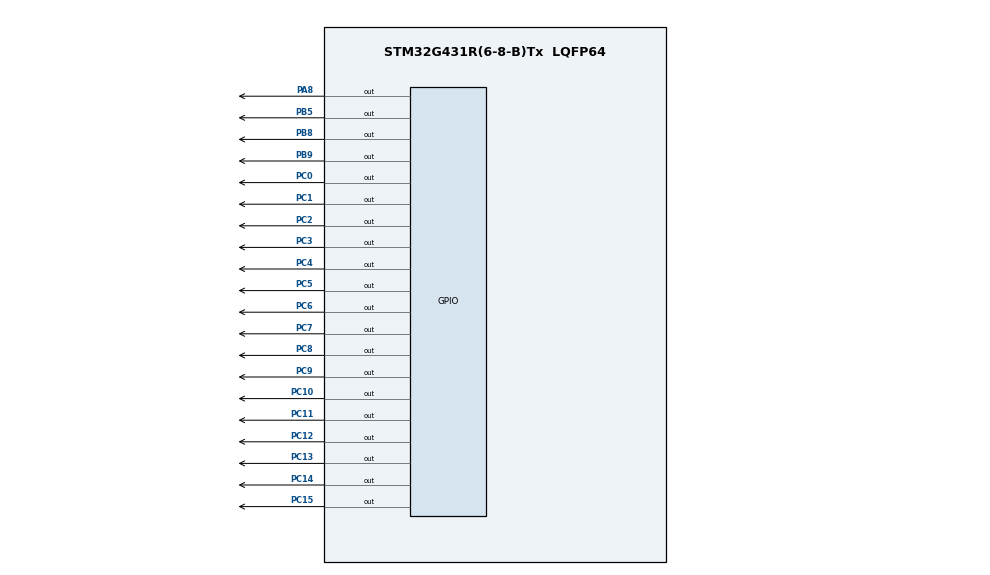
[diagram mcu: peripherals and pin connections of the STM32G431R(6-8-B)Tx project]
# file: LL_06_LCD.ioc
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Mcu.Family=STM32G4
Mcu.Name=STM32G431R(6-8-B)Tx
Mcu.Package=LQFP64
NVIC.PriorityGroup=NVIC_PRIORITYGROUP_4
PA8.Signal=GPIO_Output
PB5.Signal=GPIO_Output
PB8-BOOT0.Signal=GPIO_Output
PB9.Signal=GPIO_Output
PC0.Signal=GPIO_Output
PC1.Signal=GPIO_Output
PC10.Signal=GPIO_Output
PC11.Signal=GPIO_Output
PC12.Signal=GPIO_Output
PC13.Signal=GPIO_Output
PC14-OSC32_IN.Signal=GPIO_Output
PC15-OSC32_OUT.Signal=GPIO_Output
PC2.Signal=GPIO_Output
PC3.Signal=GPIO_Output
PC4.Signal=GPIO_Output
PC5.Signal=GPIO_Output
PC6.Signal=GPIO_Output
PC7.Signal=GPIO_Output
PC8.Signal=GPIO_Output
PC9.Signal=GPIO_Output
PF0-OSC_IN.Mode=HSE-External-Oscillator
PF0-OSC_IN.Signal=RCC_OSC_IN
PF1-OSC_OUT.Mode=HSE-External-Oscillator
PF1-OSC_OUT.Signal=RCC_OSC_OUT
ProjectManager.HeapSize=0x200
ProjectManager.StackSize=0x400
ProjectManager.TargetToolchain=MDK-ARM V5.27
RCC.ADC12Freq_Value=80000000
RCC.AHBFreq_Value=80000000
RCC.APB1Freq_Value=80000000
RCC.APB1TimFreq_Value=80000000
RCC.APB2Freq_Value=80000000
RCC.APB2TimFreq_Value=80000000
RCC.CortexFreq_Value=80000000
RCC.EXTERNAL_CLOCK_VALUE=12288000
RCC.HCLKFreq_Value=80000000
RCC.HSE_VALUE=24000000
RCC.HSI48_VALUE=48000000
RCC.HSI_VALUE=16000000
RCC.LSE_VALUE=32768
RCC.PLLM=RCC_PLLM_DIV2
RCC.PLLN=20
RCC.SYSCLKFreq_VALUE=80000000
RCC.SYSCLKSource=RCC_SYSCLKSOURCE_PLLCLK
RCC.USBFreq_Value=80000000
RCC.VCOOutputFreq_Value=160000000
VP_SYS_VS_DBSignals.Mode=DisableDeadBatterySignals
board=custom

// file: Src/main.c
/* USER CODE BEGIN Header */
/**
  ******************************************************************************
  * @file           : main.c
  * @brief          : Main program body
  ******************************************************************************
  * @attention
  *
  * <h2><center>&copy; Copyright (c) 2021 STMicroelectronics.
  * All rights reserved.</center></h2>
  *
  * This software component is licensed by ST under BSD 3-Clause license,
  * the "License"; You may not use this file except in compliance with the
  * License. You may obtain a copy of the License at:
  *                        opensource.org/licenses/BSD-3-Clause
  *
  ******************************************************************************
  */
/* USER CODE END Header */

#include "main.h"

void SystemClock_Config(void);
static void MX_GPIO_Init(void);

int main(void)
{

  /* MCU Configuration--------------------------------------------------------*/

  /* Reset of all peripherals, Initializes the Flash interface and the Systick. */

  LL_APB2_GRP1_EnableClock(LL_APB2_GRP1_PERIPH_SYSCFG);
  LL_APB1_GRP1_EnableClock(LL_APB1_GRP1_PERIPH_PWR);

  NVIC_SetPriorityGrouping(NVIC_PRIORITYGROUP_4);

  /* System interrupt init*/

  /** Disable the internal Pull-Up in Dead Battery pins of UCPD peripheral
  */
  LL_PWR_DisableDeadBatteryPD();

  /* Configure the system clock */
  SystemClock_Config();

  /* Initialize all configured peripherals */
  MX_GPIO_Init();
  /* USER CODE BEGIN 2 */
	LCD_Init();

  /* Infinite loop */
  /* USER CODE BEGIN WHILE */

	LCD_Clear(Blue);
	LCD_SetBackColor(Blue);
	LCD_SetTextColor(White);

	LCD_DisplayStringLine(Line0, (uint8_t *)"                    ");
	LCD_DisplayStringLine(Line1, (uint8_t *)"                    ");
	LCD_DisplayStringLine(Line2, (uint8_t *)"      LCD Test      ");
	LCD_DisplayStringLine(Line3, (uint8_t *)"                    ");
	LCD_DisplayStringLine(Line4, (uint8_t *)"                    ");

	LCD_SetBackColor(White);
	LCD_SetTextColor(Blue);

	LCD_DisplayStringLine(Line5, (uint8_t *)"                    ");
	LCD_DisplayStringLine(Line6, (uint8_t *)"        LL LIB      ");
	LCD_DisplayStringLine(Line7, (uint8_t *)"                    ");
	LCD_DisplayStringLine(Line8, (uint8_t *)"         @80        ");
	LCD_DisplayStringLine(Line9, (uint8_t *)"                    ");
  /* USER CODE END 2 */

  /* Infinite loop */
  while (1)
  {

  }
}

void SystemClock_Config(void)
{
  LL_FLASH_SetLatency(LL_FLASH_LATENCY_3);

   if(LL_FLASH_GetLatency() != LL_FLASH_LATENCY_3)
  {
    Error_Handler();
  }
  LL_PWR_SetRegulVoltageScaling(LL_PWR_REGU_VOLTAGE_SCALE1);
  LL_RCC_HSI_Enable();

   /* Wait till HSI is ready */
  while(LL_RCC_HSI_IsReady() != 1)
  {

  }
  LL_RCC_HSI_SetCalibTrimming(64);
  LL_RCC_PLL_ConfigDomain_SYS(LL_RCC_PLLSOURCE_HSI, LL_RCC_PLLM_DIV_2, 20, LL_RCC_PLLR_DIV_2);
  LL_RCC_PLL_EnableDomain_SYS();
  LL_RCC_PLL_Enable();

   /* Wait till PLL is ready */
  while(LL_RCC_PLL_IsReady() != 1)
  {

  }
  LL_RCC_SetSysClkSource(LL_RCC_SYS_CLKSOURCE_PLL);

   /* Wait till System clock is ready */
  while(LL_RCC_GetSysClkSource() != LL_RCC_SYS_CLKSOURCE_STATUS_PLL)
  {

  }
  /* Set AHB prescaler*/
  LL_RCC_SetAHBPrescaler(LL_RCC_SYSCLK_DIV_1);
  LL_RCC_SetAPB1Prescaler(LL_RCC_APB1_DIV_1);
  LL_RCC_SetAPB2Prescaler(LL_RCC_APB1_DIV_1);

  LL_Init1msTick(80000000);

  LL_SetSystemCoreClock(80000000);
}

static void MX_GPIO_Init(void)
{
  LL_GPIO_InitTypeDef GPIO_InitStruct = {0};

  /* GPIO Ports Clock Enable */
  LL_AHB2_GRP1_EnableClock(LL_AHB2_GRP1_PERIPH_GPIOC);
  LL_AHB2_GRP1_EnableClock(LL_AHB2_GRP1_PERIPH_GPIOF);
  LL_AHB2_GRP1_EnableClock(LL_AHB2_GRP1_PERIPH_GPIOA);
  LL_AHB2_GRP1_EnableClock(LL_AHB2_GRP1_PERIPH_GPIOB);

  /**/
  LL_GPIO_ResetOutputPin(GPIOC, LL_GPIO_PIN_13);

  /**/
  LL_GPIO_ResetOutputPin(GPIOC, LL_GPIO_PIN_14);

  /**/
  LL_GPIO_ResetOutputPin(GPIOC, LL_GPIO_PIN_15);

  /**/
  LL_GPIO_ResetOutputPin(GPIOC, LL_GPIO_PIN_0);

  /**/
  LL_GPIO_ResetOutputPin(GPIOC, LL_GPIO_PIN_1);

  /**/
  LL_GPIO_ResetOutputPin(GPIOC, LL_GPIO_PIN_2);

  /**/
  LL_GPIO_ResetOutputPin(GPIOC, LL_GPIO_PIN_3);

  /**/
  LL_GPIO_ResetOutputPin(GPIOC, LL_GPIO_PIN_4);

  /**/
  LL_GPIO_ResetOutputPin(GPIOC, LL_GPIO_PIN_5);

  /**/
  LL_GPIO_ResetOutputPin(GPIOC, LL_GPIO_PIN_6);

  /**/
  LL_GPIO_ResetOutputPin(GPIOC, LL_GPIO_PIN_7);

  /**/
  LL_GPIO_ResetOutputPin(GPIOC, LL_GPIO_PIN_8);

  /**/
  LL_GPIO_ResetOutputPin(GPIOC, LL_GPIO_PIN_9);

  /**/
  LL_GPIO_ResetOutputPin(GPIOA, LL_GPIO_PIN_8);

  /**/
  LL_GPIO_ResetOutputPin(GPIOC, LL_GPIO_PIN_10);

  /**/
  LL_GPIO_ResetOutputPin(GPIOC, LL_GPIO_PIN_11);

  /**/
  LL_GPIO_ResetOutputPin(GPIOC, LL_GPIO_PIN_12);

  /**/
  LL_GPIO_ResetOutputPin(GPIOB, LL_GPIO_PIN_5);

  /**/
  LL_GPIO_ResetOutputPin(GPIOB, LL_GPIO_PIN_8);

  /**/
  LL_GPIO_ResetOutputPin(GPIOB, LL_GPIO_PIN_9);

  /**/
  GPIO_InitStruct.Pin = LL_GPIO_PIN_13;
  GPIO_InitStruct.Mode = LL_GPIO_MODE_OUTPUT;
  GPIO_InitStruct.Speed = LL_GPIO_SPEED_FREQ_LOW;
  GPIO_InitStruct.OutputType = LL_GPIO_OUTPUT_PUSHPULL;
  GPIO_InitStruct.Pull = LL_GPIO_PULL_NO;
  LL_GPIO_Init(GPIOC, &GPIO_InitStruct);

  /**/
  GPIO_InitStruct.Pin = LL_GPIO_PIN_14;
  GPIO_InitStruct.Mode = LL_GPIO_MODE_OUTPUT;
  GPIO_InitStruct.Speed = LL_GPIO_SPEED_FREQ_LOW;
  GPIO_InitStruct.OutputType = LL_GPIO_OUTPUT_PUSHPULL;
  GPIO_InitStruct.Pull = LL_GPIO_PULL_NO;
  LL_GPIO_Init(GPIOC, &GPIO_InitStruct);

  /**/
  GPIO_InitStruct.Pin = LL_GPIO_PIN_15;
  GPIO_InitStruct.Mode = LL_GPIO_MODE_OUTPUT;
  GPIO_InitStruct.Speed = LL_GPIO_SPEED_FREQ_LOW;
  GPIO_InitStruct.OutputType = LL_GPIO_OUTPUT_PUSHPULL;
  GPIO_InitStruct.Pull = LL_GPIO_PULL_NO;
  LL_GPIO_Init(GPIOC, &GPIO_InitStruct);

  /**/
  GPIO_InitStruct.Pin = LL_GPIO_PIN_0;
  GPIO_InitStruct.Mode = LL_GPIO_MODE_OUTPUT;
  GPIO_InitStruct.Speed = LL_GPIO_SPEED_FREQ_LOW;
  GPIO_InitStruct.OutputType = LL_GPIO_OUTPUT_PUSHPULL;
  GPIO_InitStruct.Pull = LL_GPIO_PULL_NO;
  LL_GPIO_Init(GPIOC, &GPIO_InitStruct);

  /**/
  GPIO_InitStruct.Pin = LL_GPIO_PIN_1;
  GPIO_InitStruct.Mode = LL_GPIO_MODE_OUTPUT;
  GPIO_InitStruct.Speed = LL_GPIO_SPEED_FREQ_LOW;
  GPIO_InitStruct.OutputType = LL_GPIO_OUTPUT_PUSHPULL;
  GPIO_InitStruct.Pull = LL_GPIO_PULL_NO;
  LL_GPIO_Init(GPIOC, &GPIO_InitStruct);

  /**/
  GPIO_InitStruct.Pin = LL_GPIO_PIN_2;
  GPIO_InitStruct.Mode = LL_GPIO_MODE_OUTPUT;
  GPIO_InitStruct.Speed = LL_GPIO_SPEED_FREQ_LOW;
  GPIO_InitStruct.OutputType = LL_GPIO_OUTPUT_PUSHPULL;
  GPIO_InitStruct.Pull = LL_GPIO_PULL_NO;
  LL_GPIO_Init(GPIOC, &GPIO_InitStruct);

  /**/
  GPIO_InitStruct.Pin = LL_GPIO_PIN_3;
  GPIO_InitStruct.Mode = LL_GPIO_MODE_OUTPUT;
  GPIO_InitStruct.Speed = LL_GPIO_SPEED_FREQ_LOW;
  GPIO_InitStruct.OutputType = LL_GPIO_OUTPUT_PUSHPULL;
  GPIO_InitStruct.Pull = LL_GPIO_PULL_NO;
  LL_GPIO_Init(GPIOC, &GPIO_InitStruct);

  /**/
  GPIO_InitStruct.Pin = LL_GPIO_PIN_4;
  GPIO_InitStruct.Mode = LL_GPIO_MODE_OUTPUT;
  GPIO_InitStruct.Speed = LL_GPIO_SPEED_FREQ_LOW;
  GPIO_InitStruct.OutputType = LL_GPIO_OUTPUT_PUSHPULL;
  GPIO_InitStruct.Pull = LL_GPIO_PULL_NO;
  LL_GPIO_Init(GPIOC, &GPIO_InitStruct);

  /**/
  GPIO_InitStruct.Pin = LL_GPIO_PIN_5;
  GPIO_InitStruct.Mode = LL_GPIO_MODE_OUTPUT;
  GPIO_InitStruct.Speed = LL_GPIO_SPEED_FREQ_LOW;
  GPIO_InitStruct.OutputType = LL_GPIO_OUTPUT_PUSHPULL;
  GPIO_InitStruct.Pull = LL_GPIO_PULL_NO;
  LL_GPIO_Init(GPIOC, &GPIO_InitStruct);

  /**/
  GPIO_InitStruct.Pin = LL_GPIO_PIN_6;
  GPIO_InitStruct.Mode = LL_GPIO_MODE_OUTPUT;
  GPIO_InitStruct.Speed = LL_GPIO_SPEED_FREQ_LOW;
  GPIO_InitStruct.OutputType = LL_GPIO_OUTPUT_PUSHPULL;
  GPIO_InitStruct.Pull = LL_GPIO_PULL_NO;
  LL_GPIO_Init(GPIOC, &GPIO_InitStruct);

  /**/
  GPIO_InitStruct.Pin = LL_GPIO_PIN_7;
  GPIO_InitStruct.Mode = LL_GPIO_MODE_OUTPUT;
  GPIO_InitStruct.Speed = LL_GPIO_SPEED_FREQ_LOW;
  GPIO_InitStruct.OutputType = LL_GPIO_OUTPUT_PUSHPULL;
  GPIO_InitStruct.Pull = LL_GPIO_PULL_NO;
  LL_GPIO_Init(GPIOC, &GPIO_InitStruct);

  /**/
  GPIO_InitStruct.Pin = LL_GPIO_PIN_8;
  GPIO_InitStruct.Mode = LL_GPIO_MODE_OUTPUT;
  GPIO_InitStruct.Speed = LL_GPIO_SPEED_FREQ_LOW;
  GPIO_InitStruct.OutputType = LL_GPIO_OUTPUT_PUSHPULL;
  GPIO_InitStruct.Pull = LL_GPIO_PULL_NO;
  LL_GPIO_Init(GPIOC, &GPIO_InitStruct);

  /**/
  GPIO_InitStruct.Pin = LL_GPIO_PIN_9;
  GPIO_InitStruct.Mode = LL_GPIO_MODE_OUTPUT;
  GPIO_InitStruct.Speed = LL_GPIO_SPEED_FREQ_LOW;
  GPIO_InitStruct.OutputType = LL_GPIO_OUTPUT_PUSHPULL;
  GPIO_InitStruct.Pull = LL_GPIO_PULL_NO;
  LL_GPIO_Init(GPIOC, &GPIO_InitStruct);

  /**/
  GPIO_InitStruct.Pin = LL_GPIO_PIN_8;
  GPIO_InitStruct.Mode = LL_GPIO_MODE_OUTPUT;
  GPIO_InitStruct.Speed = LL_GPIO_SPEED_FREQ_LOW;
  GPIO_InitStruct.OutputType = LL_GPIO_OUTPUT_PUSHPULL;
  GPIO_InitStruct.Pull = LL_GPIO_PULL_NO;
  LL_GPIO_Init(GPIOA, &GPIO_InitStruct);

  /**/
  GPIO_InitStruct.Pin = LL_GPIO_PIN_10;
  GPIO_InitStruct.Mode = LL_GPIO_MODE_OUTPUT;
  GPIO_InitStruct.Speed = LL_GPIO_SPEED_FREQ_LOW;
  GPIO_InitStruct.OutputType = LL_GPIO_OUTPUT_PUSHPULL;
  GPIO_InitStruct.Pull = LL_GPIO_PULL_NO;
  LL_GPIO_Init(GPIOC, &GPIO_InitStruct);

  /**/
  GPIO_InitStruct.Pin = LL_GPIO_PIN_11;
  GPIO_InitStruct.Mode = LL_GPIO_MODE_OUTPUT;
  GPIO_InitStruct.Speed = LL_GPIO_SPEED_FREQ_LOW;
  GPIO_InitStruct.OutputType = LL_GPIO_OUTPUT_PUSHPULL;
  GPIO_InitStruct.Pull = LL_GPIO_PULL_NO;
  LL_GPIO_Init(GPIOC, &GPIO_InitStruct);

  /**/
  GPIO_InitStruct.Pin = LL_GPIO_PIN_12;
  GPIO_InitStruct.Mode = LL_GPIO_MODE_OUTPUT;
  GPIO_InitStruct.Speed = LL_GPIO_SPEED_FREQ_LOW;
  GPIO_InitStruct.OutputType = LL_GPIO_OUTPUT_PUSHPULL;
  GPIO_InitStruct.Pull = LL_GPIO_PULL_NO;
  LL_GPIO_Init(GPIOC, &GPIO_InitStruct);

  /**/
  GPIO_InitStruct.Pin = LL_GPIO_PIN_5;
  GPIO_InitStruct.Mode = LL_GPIO_MODE_OUTPUT;
  GPIO_InitStruct.Speed = LL_GPIO_SPEED_FREQ_LOW;
  GPIO_InitStruct.OutputType = LL_GPIO_OUTPUT_PUSHPULL;
  GPIO_InitStruct.Pull = LL_GPIO_PULL_NO;
  LL_GPIO_Init(GPIOB, &GPIO_InitStruct);

  /**/
  GPIO_InitStruct.Pin = LL_GPIO_PIN_8;
  GPIO_InitStruct.Mode = LL_GPIO_MODE_OUTPUT;
  GPIO_InitStruct.Speed = LL_GPIO_SPEED_FREQ_LOW;
  GPIO_InitStruct.OutputType = LL_GPIO_OUTPUT_PUSHPULL;
  GPIO_InitStruct.Pull = LL_GPIO_PULL_NO;
  LL_GPIO_Init(GPIOB, &GPIO_InitStruct);

  /**/
  GPIO_InitStruct.Pin = LL_GPIO_PIN_9;
  GPIO_InitStruct.Mode = LL_GPIO_MODE_OUTPUT;
  GPIO_InitStruct.Speed = LL_GPIO_SPEED_FREQ_LOW;
  GPIO_InitStruct.OutputType = LL_GPIO_OUTPUT_PUSHPULL;
  GPIO_InitStruct.Pull = LL_GPIO_PULL_NO;
  LL_GPIO_Init(GPIOB, &GPIO_InitStruct);

}

void Error_Handler(void)
{
}

/************************ (C) COPYRIGHT STMicroelectronics *****END OF FILE****/
